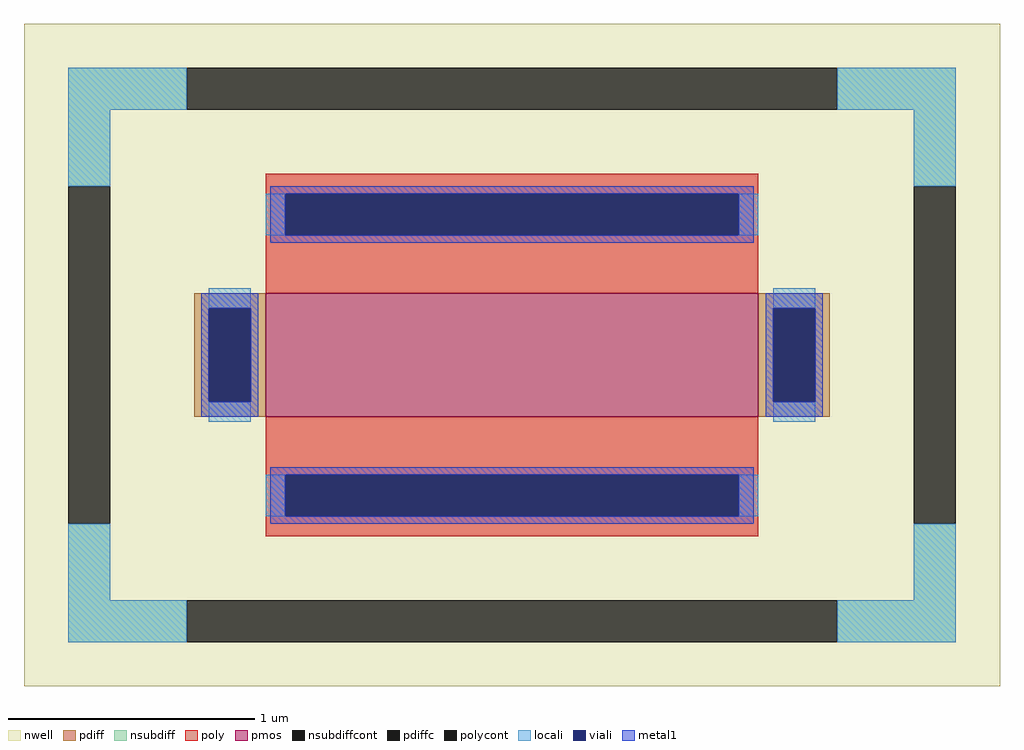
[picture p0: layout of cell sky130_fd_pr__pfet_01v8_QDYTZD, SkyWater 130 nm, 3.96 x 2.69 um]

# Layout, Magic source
magic
tech sky130A
magscale 1 2
<< nwell >>
rect -396 -269 396 269
<< pmos >>
rect -200 -50 200 50
<< pdiff >>
rect -258 38 -200 50
rect -258 -38 -246 38
rect -212 -38 -200 38
rect -258 -50 -200 -38
rect 200 38 258 50
rect 200 -38 212 38
rect 246 -38 258 38
rect 200 -50 258 -38
<< pdiffc >>
rect -246 -38 -212 38
rect 212 -38 246 38
<< nsubdiff >>
rect -360 199 -264 233
rect 264 199 360 233
rect -360 137 -326 199
rect 326 137 360 199
rect -360 -199 -326 -137
rect 326 -199 360 -137
rect -360 -233 -264 -199
rect 264 -233 360 -199
<< nsubdiffcont >>
rect -264 199 264 233
rect -360 -137 -326 137
rect 326 -137 360 137
rect -264 -233 264 -199
<< poly >>
rect -200 131 200 147
rect -200 97 -184 131
rect 184 97 200 131
rect -200 50 200 97
rect -200 -97 200 -50
rect -200 -131 -184 -97
rect 184 -131 200 -97
rect -200 -147 200 -131
<< polycont >>
rect -184 97 184 131
rect -184 -131 184 -97
<< locali >>
rect -360 199 -264 233
rect 264 199 360 233
rect -360 137 -326 199
rect 326 137 360 199
rect -200 97 -184 131
rect 184 97 200 131
rect -246 38 -212 54
rect -246 -54 -212 -38
rect 212 38 246 54
rect 212 -54 246 -38
rect -200 -131 -184 -97
rect 184 -131 200 -97
rect -360 -199 -326 -137
rect 326 -199 360 -137
rect -360 -233 -264 -199
rect 264 -233 360 -199
<< viali >>
rect -184 97 184 131
rect -246 -38 -212 38
rect 212 -38 246 38
rect -184 -131 184 -97
<< metal1 >>
rect -196 131 196 137
rect -196 97 -184 131
rect 184 97 196 131
rect -196 91 196 97
rect -252 38 -206 50
rect -252 -38 -246 38
rect -212 -38 -206 38
rect -252 -50 -206 -38
rect 206 38 252 50
rect 206 -38 212 38
rect 246 -38 252 38
rect 206 -50 252 -38
rect -196 -97 196 -91
rect -196 -131 -184 -97
rect 184 -131 196 -97
rect -196 -137 196 -131
<< properties >>
string FIXED_BBOX -343 -216 343 216
string gencell sky130_fd_pr__pfet_01v8
string library sky130
string parameters w 0.5 l 2 m 1 nf 1 diffcov 100 polycov 100 guard 1 glc 1 grc 1 gtc 1 gbc 1 tbcov 100 rlcov 100 topc 1 botc 1 poverlap 0 doverlap 1 lmin 0.15 wmin 0.42 compatible {sky130_fd_pr__pfet_01v8  sky130_fd_pr__pfet_01v8_lvt sky130_fd_pr__pfet_01v8_hvt  sky130_fd_pr__pfet_g5v0d10v5} full_metal 1 viasrc 100 viadrn 100 viagate 100 viagb 0 viagr 0 viagl 0 viagt 0
<< end >>
